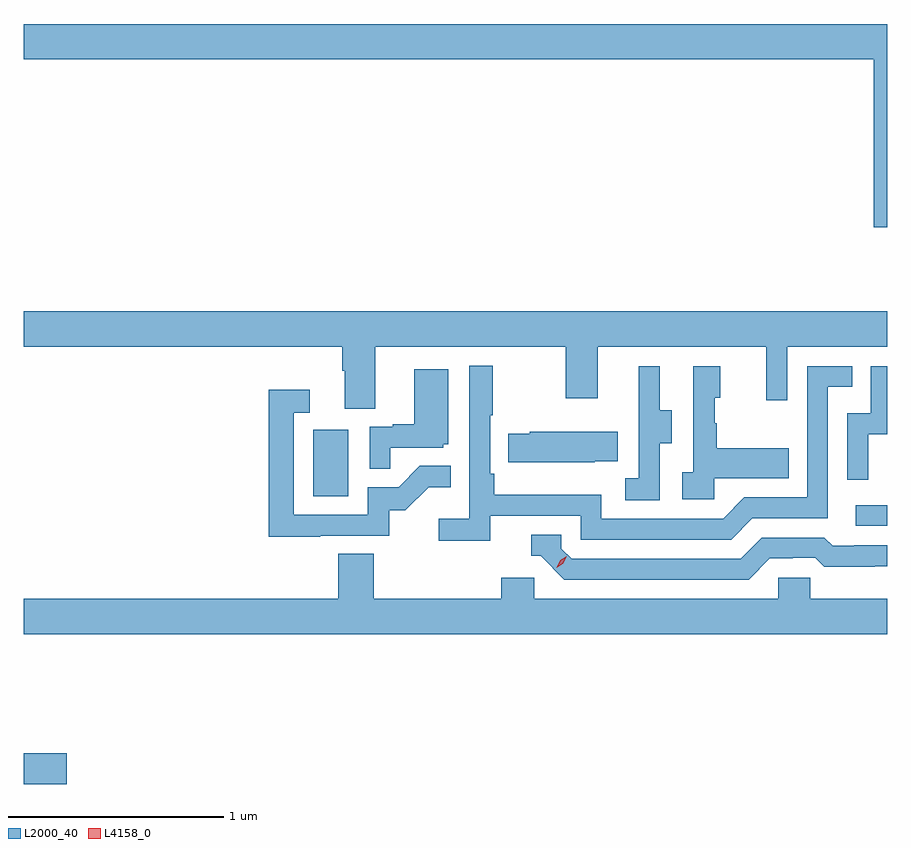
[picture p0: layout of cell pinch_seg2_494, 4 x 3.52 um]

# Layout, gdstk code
import gdstk
lib = gdstk.Library(unit=1e-6, precision=1e-09)
def R(c, l, rs):  # rectangles x0, y0, x1, y1
    for r in rs: c.add(gdstk.rectangle(r[:2], r[2:], *l))
def P(c, l, *ps):  # polygons
    for p in ps: c.add(gdstk.Polygon(p, *l))
L2000_40 = (2000, 40)
L4158_0 = (4158, 0)

pinch_seg2_494 = lib.new_cell('pinch_seg2_494')
R(pinch_seg2_494, L2000_40, [(962.958,590.998,963.157,591.14), (966.813,592.194,966.958,592.29), (964.298,592.332,964.462,592.639)])
P(pinch_seg2_494, L2000_40, [(966.958,594.52),(962.958,594.52),(962.958,594.356),(966.896,594.356),(966.896,593.577),(966.958,593.577)],
  [(964.585,593.024),(965.47,593.024),(965.47,592.785),(965.617,592.785),(965.617,593.024),(966.398,593.024),(966.398,592.776),(966.495,592.776),(966.495,593.024),(966.958,593.024),(966.958,593.188),(962.958,593.188),(962.958,593.024),(964.433,593.024),(964.433,592.912),(964.445,592.912),(964.445,592.738),(964.585,592.738)],
  [(965.12,592.242),(965.538,592.242),(965.538,592.131),(966.235,592.131),(966.334,592.23),(966.684,592.23),(966.684,592.839),(966.797,592.839),(966.797,592.935),(966.588,592.935),(966.588,592.326),(966.297,592.326),(966.198,592.227),(965.634,592.227),(965.634,592.339),(965.138,592.339),(965.138,592.435),(965.118,592.435),(965.118,592.708),(965.131,592.708),(965.131,592.936),(965.022,592.936),(965.022,592.228),(964.881,592.228),(964.881,592.126),(965.12,592.126)],
  [(966.87,592.619),(966.958,592.619),(966.958,592.935),(966.882,592.935),(966.882,592.716),(966.774,592.716),(966.774,592.407),(966.87,592.407)],
  [(966.156,592.415),(966.503,592.415),(966.503,592.555),(966.169,592.555),(966.169,592.67),(966.159,592.67),(966.159,592.788),(966.184,592.788),(966.184,592.933),(966.06,592.933),(966.06,592.442),(966.009,592.442),(966.009,592.317),(966.156,592.317)],
  [(965.904,592.576),(965.959,592.576),(965.959,592.731),(965.905,592.731),(965.905,592.933),(965.807,592.933),(965.807,592.719),(965.808,592.719),(965.808,592.415),(965.745,592.415),(965.745,592.312),(965.904,592.312)],
  [(964.655,592.557),(964.902,592.557),(964.902,592.572),(964.924,592.572),(964.924,592.921),(964.766,592.921),(964.766,592.666),(964.667,592.666),(964.667,592.653),(964.56,592.653),(964.56,592.459),(964.655,592.459)],
  [(964.331,592.149),(964.65,592.149),(964.65,592.266),(964.726,592.266),(964.833,592.373),(964.937,592.373),(964.937,592.472),(964.793,592.472),(964.695,592.374),(964.551,592.374),(964.551,592.245),(964.209,592.245),(964.209,592.719),(964.282,592.719),(964.282,592.825),(964.093,592.825),(964.093,592.144),(964.331,592.144)],
  [(965.603,592.493),(965.711,592.493),(965.711,592.63),(965.301,592.63),(965.301,592.62),(965.203,592.62),(965.203,592.49),(965.603,592.49)],
  [(966.415,592.044),(966.522,592.044),(966.522,592.047),(966.625,592.047),(966.667,592.005),(966.9,592.005),(966.9,592.007),(966.958,592.007),(966.958,592.104),(966.805,592.104),(966.805,592.101),(966.706,592.101),(966.667,592.14),(966.378,592.14),(966.279,592.041),(965.496,592.041),(965.448,592.089),(965.448,592.152),(965.309,592.152),(965.309,592.056),(965.352,592.056),(965.463,591.945),(966.316,591.945)],
  [(966.958,591.856),(966.603,591.856),(966.603,591.954),(966.453,591.954),(966.453,591.856),(965.322,591.856),(965.322,591.954),(965.171,591.954),(965.171,591.856),(964.58,591.856),(964.58,592.064),(964.415,592.064),(964.415,591.856),(962.958,591.856),(962.958,591.692),(966.958,591.692)])
P(pinch_seg2_494, L4158_0, [(965.427,592.001),(965.427,592.001),(965.443,592.034),(965.473,592.053),(965.474,592.053),(965.474,592.053),(965.458,592.02),(965.428,592.001)])

lib.write_gds('pinch_seg2_494.gds')
